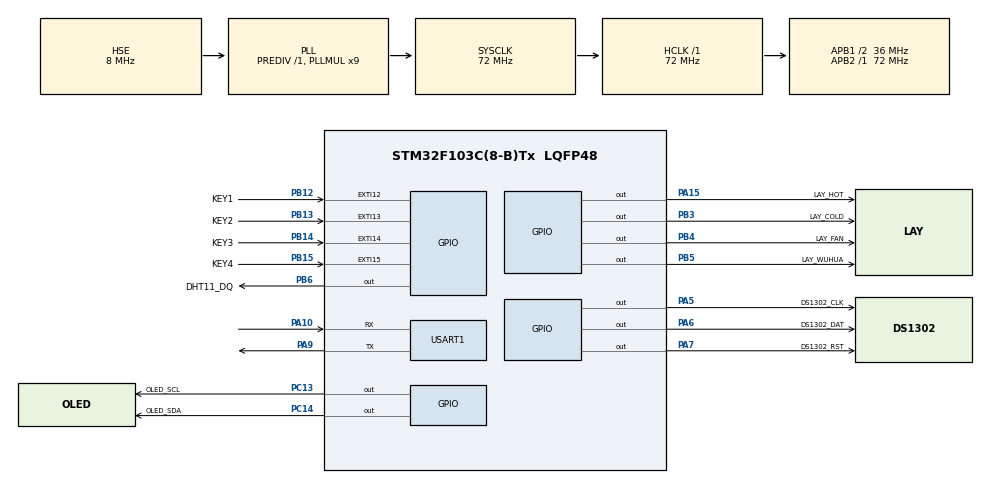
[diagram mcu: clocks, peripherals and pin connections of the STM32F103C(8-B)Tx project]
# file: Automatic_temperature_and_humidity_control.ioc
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Dma.Request0=USART1_RX
Dma.Request1=USART1_TX
Dma.USART1_RX.0.Direction=DMA_PERIPH_TO_MEMORY
Dma.USART1_RX.0.Instance=DMA1_Channel5
Dma.USART1_RX.0.MemDataAlignment=DMA_MDATAALIGN_BYTE
Dma.USART1_RX.0.MemInc=DMA_MINC_ENABLE
Dma.USART1_RX.0.Mode=DMA_NORMAL
Dma.USART1_RX.0.PeriphDataAlignment=DMA_PDATAALIGN_BYTE
Dma.USART1_RX.0.PeriphInc=DMA_PINC_DISABLE
Dma.USART1_RX.0.Priority=DMA_PRIORITY_LOW
Dma.USART1_TX.1.Direction=DMA_MEMORY_TO_PERIPH
Dma.USART1_TX.1.Instance=DMA1_Channel4
Dma.USART1_TX.1.MemDataAlignment=DMA_MDATAALIGN_BYTE
Dma.USART1_TX.1.MemInc=DMA_MINC_ENABLE
Dma.USART1_TX.1.Mode=DMA_NORMAL
Dma.USART1_TX.1.PeriphDataAlignment=DMA_PDATAALIGN_BYTE
Dma.USART1_TX.1.PeriphInc=DMA_PINC_DISABLE
Dma.USART1_TX.1.Priority=DMA_PRIORITY_LOW
Mcu.Family=STM32F1
Mcu.Name=STM32F103C(8-B)Tx
Mcu.Package=LQFP48
NVIC.DMA1_Channel4_IRQn=true\:0\:0\:false\:false\:true\:false\:true\:true
NVIC.DMA1_Channel5_IRQn=true\:0\:0\:false\:false\:true\:false\:true\:true
NVIC.EXTI15_10_IRQn=true\:0\:0\:false\:false\:true\:true\:true\:true
NVIC.PriorityGroup=NVIC_PRIORITYGROUP_4
NVIC.USART1_IRQn=true\:1\:0\:true\:false\:true\:true\:true\:true
PA10.Mode=Asynchronous
PA10.Signal=USART1_RX
PA13.Mode=Serial_Wire
PA13.Signal=SYS_JTMS-SWDIO
PA14.Mode=Serial_Wire
PA14.Signal=SYS_JTCK-SWCLK
PA15.GPIO_Label=LAY_HOT
PA15.GPIO_ModeDefaultOutputPP=GPIO_MODE_OUTPUT_PP
PA15.GPIO_PuPd=GPIO_PULLDOWN
PA15.GPIO_Speed=GPIO_SPEED_FREQ_HIGH
PA15.PinState=GPIO_PIN_SET
PA15.Signal=GPIO_Output
PA5.GPIO_Label=DS1302_CLK
PA5.GPIO_ModeDefaultOutputPP=GPIO_MODE_OUTPUT_PP
PA5.GPIO_PuPd=GPIO_PULLUP
PA5.GPIO_Speed=GPIO_SPEED_FREQ_HIGH
PA5.PinState=GPIO_PIN_SET
PA5.Signal=GPIO_Output
PA6.GPIO_Label=DS1302_DAT
PA6.GPIO_PuPd=GPIO_PULLUP
PA6.GPIO_Speed=GPIO_SPEED_FREQ_HIGH
PA6.Signal=GPIO_Output
PA7.GPIO_Label=DS1302_RST
PA7.GPIO_PuPd=GPIO_PULLUP
PA7.GPIO_Speed=GPIO_SPEED_FREQ_HIGH
PA7.Signal=GPIO_Output
PA9.Mode=Asynchronous
PA9.Signal=USART1_TX
PB12.GPIO_Label=KEY1
PB12.GPIO_ModeDefaultEXTI=GPIO_MODE_IT_FALLING
PB12.GPIO_PuPd=GPIO_PULLUP
PB12.Signal=GPXTI12
PB13.GPIO_Label=KEY2
PB13.GPIO_ModeDefaultEXTI=GPIO_MODE_IT_FALLING
PB13.GPIO_PuPd=GPIO_PULLUP
PB13.Signal=GPXTI13
PB14.GPIO_Label=KEY3
PB14.GPIO_ModeDefaultEXTI=GPIO_MODE_IT_FALLING
PB14.GPIO_PuPd=GPIO_PULLUP
PB14.Signal=GPXTI14
PB15.GPIO_Label=KEY4
PB15.GPIO_ModeDefaultEXTI=GPIO_MODE_IT_FALLING
PB15.GPIO_PuPd=GPIO_PULLUP
PB15.Signal=GPXTI15
PB3.GPIO_Label=LAY_COLD
PB3.GPIO_ModeDefaultOutputPP=GPIO_MODE_OUTPUT_PP
PB3.GPIO_PuPd=GPIO_PULLDOWN
PB3.GPIO_Speed=GPIO_SPEED_FREQ_HIGH
PB3.PinState=GPIO_PIN_SET
PB3.Signal=GPIO_Output
PB4.GPIO_Label=LAY_FAN
PB4.GPIO_ModeDefaultOutputPP=GPIO_MODE_OUTPUT_PP
PB4.GPIO_PuPd=GPIO_PULLDOWN
PB4.GPIO_Speed=GPIO_SPEED_FREQ_HIGH
PB4.PinState=GPIO_PIN_SET
PB4.Signal=GPIO_Output
PB5.GPIO_Label=LAY_WUHUA
PB5.GPIO_ModeDefaultOutputPP=GPIO_MODE_OUTPUT_PP
PB5.GPIO_PuPd=GPIO_PULLDOWN
PB5.GPIO_Speed=GPIO_SPEED_FREQ_HIGH
PB5.PinState=GPIO_PIN_SET
PB5.Signal=GPIO_Output
PB6.GPIO_Label=DHT11_DQ
PB6.GPIO_ModeDefaultOutputPP=GPIO_MODE_OUTPUT_PP
PB6.GPIO_PuPd=GPIO_PULLUP
PB6.GPIO_Speed=GPIO_SPEED_FREQ_HIGH
PB6.PinState=GPIO_PIN_SET
PB6.Signal=GPIO_Output
PC13-TAMPER-RTC.GPIO_Label=OLED_SCL
PC13-TAMPER-RTC.GPIO_ModeDefaultOutputPP=GPIO_MODE_OUTPUT_PP
PC13-TAMPER-RTC.GPIO_PuPd=GPIO_PULLUP
PC13-TAMPER-RTC.GPIO_Speed=GPIO_SPEED_FREQ_HIGH
PC13-TAMPER-RTC.PinState=GPIO_PIN_SET
PC13-TAMPER-RTC.Signal=GPIO_Output
PC14-OSC32_IN.GPIO_Label=OLED_SDA
PC14-OSC32_IN.GPIO_ModeDefaultOutputPP=GPIO_MODE_OUTPUT_PP
PC14-OSC32_IN.GPIO_PuPd=GPIO_PULLUP
PC14-OSC32_IN.GPIO_Speed=GPIO_SPEED_FREQ_HIGH
PC14-OSC32_IN.Signal=GPIO_Output
PD0-OSC_IN.Mode=HSE-External-Oscillator
PD0-OSC_IN.Signal=RCC_OSC_IN
PD1-OSC_OUT.Mode=HSE-External-Oscillator
PD1-OSC_OUT.Signal=RCC_OSC_OUT
ProjectManager.HeapSize=0x200
ProjectManager.StackSize=0x400
ProjectManager.TargetToolchain=MDK-ARM V5.32
RCC.AHBFreq_Value=72000000
RCC.APB1CLKDivider=RCC_HCLK_DIV2
RCC.APB1Freq_Value=36000000
RCC.APB1TimFreq_Value=72000000
RCC.APB2Freq_Value=72000000
RCC.APB2TimFreq_Value=72000000
RCC.HCLKFreq_Value=72000000
RCC.PLLMUL=RCC_PLL_MUL9
RCC.PLLSourceVirtual=RCC_PLLSOURCE_HSE
RCC.SYSCLKFreq_VALUE=72000000
RCC.SYSCLKSource=RCC_SYSCLKSOURCE_PLLCLK
RCC.USBFreq_Value=72000000
USART1.VirtualMode=VM_ASYNC
board=custom

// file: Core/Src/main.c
/* USER CODE BEGIN Header */
/**
  ******************************************************************************
  * @file           : main.c
  * @brief          : Main program body
  ******************************************************************************
  * @attention
  *
  * Copyright (c) 2026 STMicroelectronics.
  * All rights reserved.
  *
  * This software is licensed under terms that can be found in the LICENSE file
  * in the root directory of this software component.
  * If no LICENSE file comes with this software, it is provided AS-IS.
  *
  ******************************************************************************
  */
/* USER CODE END Header */
#include "main.h"
#include "dma.h"
#include "usart.h"
#include "gpio.h"

/* USER CODE BEGIN Includes */
#include "oled.h"
#include "ds1302.h"
#include "DHT11.h"
#include <stdio.h>
#include "esp8266.h"
#include "mqtt_publisher.h"
/* USER CODE END Includes */

/* USER CODE BEGIN PD */
// 界面定义
#define INTERFACE_MAIN 1    // 主界面：显示时间、温度、湿度
#define INTERFACE_DEVICE 2  // 设备界面：显示设备状态
#define INTERFACE_SETTING 3 // 设置界面：显示阈值设置

// 工作模式
#define MODE_AUTO 0   // 自动模式
#define MODE_MANUAL 1 // 手动模式

// 设备状态
#define DEVICE_OFF 0  // 设备关闭
#define DEVICE_ON 1   // 设备开启

// 按键定义
#define KEY1_PRESSED 1
#define KEY2_PRESSED 2
#define KEY3_PRESSED 3
#define KEY4_PRESSED 4

// 阈值默认值
#define DEFAULT_TEMP_MAX 40  // 默认温度上限
#define DEFAULT_TEMP_MIN 25  // 默认温度下限
#define DEFAULT_HUMID_MAX 70 // 默认湿度上限
/* USER CODE END PD */

/* USER CODE BEGIN PV */
DS1302_Time currentTime;
uint8_t timeStr[32];
DHT11_Data dht11Data;

// 系统状态变量
uint8_t currentInterface = INTERFACE_MAIN; // 当前界面
uint8_t currentMode = MODE_AUTO;           // 当前工作模式

// 设备状态
uint8_t heaterStatus = DEVICE_OFF;  // 加热器状态
uint8_t coolerStatus = DEVICE_OFF;  // 制冷片状态
uint8_t fanStatus = DEVICE_OFF;     // 风扇状态
uint8_t wuhuaStatus = DEVICE_OFF;   // 雾化器状态

// 阈值设置
uint8_t tempMax = DEFAULT_TEMP_MAX;  // 温度上限
uint8_t tempMin = DEFAULT_TEMP_MIN;  // 温度下限
uint8_t humidMax = DEFAULT_HUMID_MAX; // 湿度上限

// 设置界面当前选中的项目
#define SETTING_TEMP_MAX 0  // 温度上限
#define SETTING_TEMP_MIN 1  // 温度下限
#define SETTING_HUMID_MAX 2 // 湿度上限
uint8_t currentSettingItem = SETTING_TEMP_MAX; // 当前选中的设置项

// 按键状态
uint8_t keyPressed = 0; // 记录按键状态
uint8_t keyPressFlag = 0; // 按键按下标志（用于中断）
uint32_t keyPressTime = 0; // 按键按下时间

// 系统启动状态
uint8_t systemReady = 0; // 系统就绪标志
uint32_t startupCounter = 0; // 启动计数器

// 上次数据（用于按需刷新）
DS1302_Time lastTime;
DHT11_Data lastDht11Data;
uint8_t lastInterface = INTERFACE_MAIN;
uint8_t lastMode = MODE_AUTO;
uint8_t lastHeaterStatus = DEVICE_OFF;
uint8_t lastCoolerStatus = DEVICE_OFF;
uint8_t lastFanStatus = DEVICE_OFF;
uint8_t lastWuhuaStatus = DEVICE_OFF;
uint8_t lastTempMax = DEFAULT_TEMP_MAX;
uint8_t lastTempMin = DEFAULT_TEMP_MIN;
uint8_t lastHumidMax = DEFAULT_HUMID_MAX;
uint8_t lastSettingItem = SETTING_TEMP_MAX;
/* USER CODE END PV */

void SystemClock_Config(void);
/* USER CODE BEGIN PFP */
// 界面绘制函数
void DrawMainInterface(void);
void DrawDeviceInterface(void);
void DrawSettingInterface(void);

// 按键处理函数
void ProcessKeyPress(uint8_t key);

// 设备控制函数
void ControlDevice(uint8_t device, uint8_t status);

// 自动控制逻辑
void AutoControlLogic(void);
/* USER CODE END PFP */

/* USER CODE BEGIN 0 */

// 设备控制函数
void ControlDevice(uint8_t device, uint8_t status)
{
    switch(device)
    {
        case 1: // 加热器
            heaterStatus = status;
            HAL_GPIO_WritePin(LAY_HOT_GPIO_Port, LAY_HOT_Pin, status ? GPIO_PIN_SET : GPIO_PIN_RESET);
            break;
        case 2: // 制冷片
            coolerStatus = status;
            HAL_GPIO_WritePin(LAY_COLD_GPIO_Port, LAY_COLD_Pin, status ? GPIO_PIN_SET : GPIO_PIN_RESET);
            break;
        case 3: // 风扇
            fanStatus = status;
            HAL_GPIO_WritePin(LAY_FAN_GPIO_Port, LAY_FAN_Pin, status ? GPIO_PIN_SET : GPIO_PIN_RESET);
            break;
        case 4: // 雾化器
            wuhuaStatus = status;
            HAL_GPIO_WritePin(LAY_WUHUA_GPIO_Port, LAY_WUHUA_Pin, status ? GPIO_PIN_SET : GPIO_PIN_RESET);
            break;
    }
}

// 自动控制逻辑
void AutoControlLogic(void)
{
    // 检查系统是否就绪和温度数据是否有效
    if(!systemReady || dht11Data.temperature == 0 || dht11Data.temperature > 60)
    {
        // 系统未就绪或温度数据无效，关闭所有设备
        if(heaterStatus == DEVICE_ON) ControlDevice(1, DEVICE_OFF);
        if(coolerStatus == DEVICE_ON) ControlDevice(2, DEVICE_OFF);
        if(fanStatus == DEVICE_ON) ControlDevice(3, DEVICE_OFF);
        if(wuhuaStatus == DEVICE_ON) ControlDevice(4, DEVICE_OFF);
        return;
    }

    if(currentMode == MODE_AUTO)
    {
        // 温度控制优先级最高
        if(dht11Data.temperature < tempMin)
        {
            // 温度低于下限，开启加热器，关闭其他所有设备
            ControlDevice(1, DEVICE_ON);
            ControlDevice(2, DEVICE_OFF);
            ControlDevice(3, DEVICE_OFF);
            ControlDevice(4, DEVICE_OFF);
        }
        else if(dht11Data.temperature > tempMax)
        {
            // 温度高于上限，开启制冷片，关闭其他所有设备
            ControlDevice(1, DEVICE_OFF);
            ControlDevice(2, DEVICE_ON);
            ControlDevice(3, DEVICE_OFF);
            ControlDevice(4, DEVICE_OFF);
        }
        else
        {
            // 温度在正常范围内，关闭加热和制冷，进行湿度控制
            ControlDevice(1, DEVICE_OFF);
            ControlDevice(2, DEVICE_OFF);

            // 湿度控制
            if(dht11Data.humidity > humidMax)
            {
                // 湿度高于上限，开启风扇除湿，关闭雾化器
                ControlDevice(3, DEVICE_ON);
                ControlDevice(4, DEVICE_OFF);
            }
            else if(dht11Data.humidity < 30) // 假设湿度下限为30%
            {
                // 湿度低于阈值，开启雾化器，关闭风扇
                ControlDevice(3, DEVICE_OFF);
                ControlDevice(4, DEVICE_ON);
            }
            else
            {
                // 湿度正常，关闭风扇和雾化器
                ControlDevice(3, DEVICE_OFF);
                ControlDevice(4, DEVICE_OFF);
            }
        }
    }
}

// 绘制主界面
void DrawMainInterface(void)
{
    OLED_Clear();

    // 显示日期
    sprintf((char*)timeStr, "20%02d-%02d-%02d", currentTime.year, currentTime.month, currentTime.date);
    OLED_ShowString(0, 0, timeStr, 8, 1);

    // 显示时间
    sprintf((char*)timeStr, "%02d:%02d:%02d", currentTime.hour, currentTime.minute, currentTime.second);
    OLED_ShowString(0, 16, timeStr, 8, 1);

    // 显示温度
    sprintf((char*)timeStr, "T: %d.%dC", dht11Data.temperature, dht11Data.temperature_dec);
    OLED_ShowString(0, 32, timeStr, 8, 1);

    // 显示湿度
    sprintf((char*)timeStr, "H: %d.%d%%", dht11Data.humidity, dht11Data.humidity_dec);
    OLED_ShowString(0, 48, timeStr, 8, 1);

    // 显示工作模式
    if(currentMode == MODE_AUTO)
    {
        OLED_ShowString(80, 0, (uint8_t*)"AUTO", 8, 1);
    }
    else
    {
        OLED_ShowString(80, 0, (uint8_t*)"MANUAL", 8, 1);
    }

    OLED_Refresh();
}

// 绘制设备界面
void DrawDeviceInterface(void)
{
    OLED_Clear();

    // 显示设备状态
    OLED_ShowString(0, 0, (uint8_t*)"Heater:", 8, 1);
    OLED_ShowString(60, 0, (heaterStatus ? (uint8_t*)"ON" : (uint8_t*)"OFF"), 8, 1);

    OLED_ShowString(0, 16, (uint8_t*)"Cooler:", 8, 1);
    OLED_ShowString(60, 16, (coolerStatus ? (uint8_t*)"ON" : (uint8_t*)"OFF"), 8, 1);

    OLED_ShowString(0, 32, (uint8_t*)"Fan:", 8, 1);
    OLED_ShowString(60, 32, (fanStatus ? (uint8_t*)"ON" : (uint8_t*)"OFF"), 8, 1);

    OLED_ShowString(0, 48, (uint8_t*)"Wuhua:", 8, 1);
    OLED_ShowString(60, 48, (wuhuaStatus ? (uint8_t*)"ON" : (uint8_t*)"OFF"), 8, 1);

    OLED_Refresh();
}

// 绘制设置界面
void DrawSettingInterface(void)
{
    OLED_Clear();

    // 显示阈值设置
    sprintf((char*)timeStr, "Temp Max: %dC", tempMax);
    OLED_ShowString(0, 0, timeStr, 8, 1);

    sprintf((char*)timeStr, "Temp Min: %dC", tempMin);
    OLED_ShowString(0, 16, timeStr, 8, 1);

    sprintf((char*)timeStr, "Humid Max: %d%%", humidMax);
    OLED_ShowString(0, 32, timeStr, 8, 1);

    // 显示当前选中的设置项
    switch(currentSettingItem)
    {
        case SETTING_TEMP_MAX:
            OLED_ShowString(100, 0, (uint8_t*)"->", 8, 1);
            break;
        case SETTING_TEMP_MIN:
            OLED_ShowString(100, 16, (uint8_t*)"->", 8, 1);
            break;
        case SETTING_HUMID_MAX:
            OLED_ShowString(100, 32, (uint8_t*)"->", 8, 1);
            break;
    }

    OLED_ShowString(0, 48, (uint8_t*)"KEY1:Prev KEY2:Next", 8, 1);
    OLED_ShowString(0, 56, (uint8_t*)"KEY3:Down KEY4:Up", 8, 1);

    OLED_Refresh();
}

// 按键处理函数
void ProcessKeyPress(uint8_t key)
{
    switch(currentInterface)
    {
        case INTERFACE_MAIN:
            if(key == KEY1_PRESSED)
            {
                // 切换工作模式
                currentMode = (currentMode == MODE_AUTO) ? MODE_MANUAL : MODE_AUTO;
            }
            else if(key == KEY2_PRESSED)
            {
                // 切换到设备界面
                currentInterface = INTERFACE_DEVICE;
            }
            break;

        case INTERFACE_DEVICE:
            if(key == KEY1_PRESSED)
            {
                // 切换到主界面
                currentInterface = INTERFACE_MAIN;
            }
            else if(key == KEY2_PRESSED)
            {
                // 切换到设置界面
                currentInterface = INTERFACE_SETTING;
                currentSettingItem = SETTING_TEMP_MAX; // 重置为第一项
            }
            else if(key == KEY3_PRESSED)
            {
                // 手动控制设备（循环关闭）
                if(heaterStatus == DEVICE_ON) ControlDevice(1, DEVICE_OFF);
                else if(coolerStatus == DEVICE_ON) ControlDevice(2, DEVICE_OFF);
                else if(fanStatus == DEVICE_ON) ControlDevice(3, DEVICE_OFF);
                else if(wuhuaStatus == DEVICE_ON) ControlDevice(4, DEVICE_OFF);
            }
            else if(key == KEY4_PRESSED)
            {
                // 手动控制设备（循环开启，确保互斥）
                if(heaterStatus == DEVICE_OFF)
                {
                    // 开启加热器，关闭其他所有设备
                    ControlDevice(1, DEVICE_ON);
                    ControlDevice(2, DEVICE_OFF);
                    ControlDevice(3, DEVICE_OFF);
                    ControlDevice(4, DEVICE_OFF);
                }
                else if(coolerStatus == DEVICE_OFF)
                {
                    // 开启制冷片，关闭其他所有设备
                    ControlDevice(1, DEVICE_OFF);
                    ControlDevice(2, DEVICE_ON);
                    ControlDevice(3, DEVICE_OFF);
                    ControlDevice(4, DEVICE_OFF);
                }
                else if(fanStatus == DEVICE_OFF)
                {
                    // 开启风扇，关闭其他所有设备
                    ControlDevice(1, DEVICE_OFF);
                    ControlDevice(2, DEVICE_OFF);
                    ControlDevice(3, DEVICE_ON);
                    ControlDevice(4, DEVICE_OFF);
                }
                else if(wuhuaStatus == DEVICE_OFF)
                {
                    // 开启雾化器，关闭其他所有设备
                    ControlDevice(1, DEVICE_OFF);
                    ControlDevice(2, DEVICE_OFF);
                    ControlDevice(3, DEVICE_OFF);
                    ControlDevice(4, DEVICE_ON);
                }
            }
            break;

        case INTERFACE_SETTING:
            if(key == KEY1_PRESSED)
            {
                // 切换到上一个设置项
                currentSettingItem--;
                if(currentSettingItem < SETTING_TEMP_MAX)
                {
                    // 已经到第一项，回到设备界面
                    currentInterface = INTERFACE_DEVICE;
                    currentSettingItem = SETTING_TEMP_MAX; // 重置为第一项
                }
            }
            else if(key == KEY2_PRESSED)
            {
                // 切换到下一个设置项
                currentSettingItem++;
                if(currentSettingItem > SETTING_HUMID_MAX)
                {
                    // 已经到最后一项，退出设置界面回到主界面
                    currentInterface = INTERFACE_MAIN;
                    currentSettingItem = SETTING_TEMP_MAX; // 重置为第一项
                }
            }
            else if(key == KEY3_PRESSED)
            {
                // 减少当前选中的阈值
                switch(currentSettingItem)
                {
                    case SETTING_TEMP_MAX:
                        if(tempMax > 20) tempMax--;
                        break;
                    case SETTING_TEMP_MIN:
                        if(tempMin > 10) tempMin--;
                        break;
                    case SETTING_HUMID_MAX:
                        if(humidMax > 30) humidMax--;
                        break;
                }
            }
            else if(key == KEY4_PRESSED)
            {
                // 增加当前选中的阈值
                switch(currentSettingItem)
                {
                    case SETTING_TEMP_MAX:
                        if(tempMax < 50) tempMax++;
                        break;
                    case SETTING_TEMP_MIN:
                        if(tempMin < tempMax - 5) tempMin++;
                        break;
                    case SETTING_HUMID_MAX:
                        if(humidMax < 99) humidMax++;
                        break;
                }
            }
            break;
    }
}

/* USER CODE END 0 */

int main(void)
{

  /* USER CODE BEGIN 1 */
  uint8_t wifi_try = 0, mqtt_try = 0;
  /* USER CODE END 1 */

  /* MCU Configuration--------------------------------------------------------*/

  /* Reset of all peripherals, Initializes the Flash interface and the Systick. */
  HAL_Init();

  /* Configure the system clock */
  SystemClock_Config();

  /* Initialize all configured peripherals */
  MX_GPIO_Init();

  MX_DMA_Init();
  MX_USART1_UART_Init();
  /* USER CODE BEGIN 2 */
		  HAL_GPIO_WritePin(GPIOB, LAY_COLD_Pin|LAY_FAN_Pin|LAY_WUHUA_Pin, GPIO_PIN_RESET);
		  HAL_GPIO_WritePin(GPIOA,LAY_HOT_Pin, GPIO_PIN_RESET);
	  OLED_Init();
  DS1302_Init();
  DHT11_Init();

  	ESP8266_Init();
		  //WIFI连接
  while (wifi_try < 5 && !ESP8266_ConnectWiFi())
  {
      wifi_try++;
      HAL_Delay(1000);
  }

	  //上云
	if(ESP8266_ConnectCloud()==false)
	{
		  while(1);
	}
	HAL_Delay(5000);
	ESP8266_Clear();
	OLED_Clear();

	//订阅
	if(!ESP8266_MQTT_Subscribe(MQTT_TOPIC_POST_REPLY,1))
	{
		  while(1);
	}

	//发布
		if(!ESP8266_MQTT_Subscribe(MQTT_TOPIC_SET,0))
	{
		  while(1);
	}

  // 初始化继电器引脚为输出
  GPIO_InitTypeDef GPIO_InitStruct = {0};

  // 加热器
  GPIO_InitStruct.Pin = LAY_HOT_Pin;
  GPIO_InitStruct.Mode = GPIO_MODE_OUTPUT_PP;
  GPIO_InitStruct.Pull = GPIO_NOPULL;
  GPIO_InitStruct.Speed = GPIO_SPEED_FREQ_HIGH;
  HAL_GPIO_Init(LAY_HOT_GPIO_Port, &GPIO_InitStruct);

  // 制冷片
  GPIO_InitStruct.Pin = LAY_COLD_Pin;
  HAL_GPIO_Init(LAY_COLD_GPIO_Port, &GPIO_InitStruct);

  // 风扇
  GPIO_InitStruct.Pin = LAY_FAN_Pin;
  HAL_GPIO_Init(LAY_FAN_GPIO_Port, &GPIO_InitStruct);

  // 雾化器
  GPIO_InitStruct.Pin = LAY_WUHUA_Pin;
  HAL_GPIO_Init(LAY_WUHUA_GPIO_Port, &GPIO_InitStruct);

  // 上电默认拉低，确保设备处于关闭状态
  HAL_GPIO_WritePin(LAY_HOT_GPIO_Port, LAY_HOT_Pin, GPIO_PIN_RESET);
  HAL_GPIO_WritePin(LAY_COLD_GPIO_Port, LAY_COLD_Pin, GPIO_PIN_RESET);
  HAL_GPIO_WritePin(LAY_FAN_GPIO_Port, LAY_FAN_Pin, GPIO_PIN_RESET);
  HAL_GPIO_WritePin(LAY_WUHUA_GPIO_Port, LAY_WUHUA_Pin, GPIO_PIN_RESET);

  // 初始化设备状态变量
  heaterStatus = DEVICE_OFF;
  coolerStatus = DEVICE_OFF;
  fanStatus = DEVICE_OFF;
  wuhuaStatus = DEVICE_OFF;

//  OLED_ShowString(0,0,(uint8_t*)"hello",8,1);
//  OLED_Refresh();
//  HAL_Delay(1000);
  /* USER CODE END 2 */

  /* Infinite loop */
  /* USER CODE BEGIN WHILE */
  while (1)
  {
    // 读取时间和温湿度数据
    DS1302_GetTime(&currentTime);
    DHT11_ReadData(&dht11Data);

    // 发送温湿度数据到MQTT
    char temp_str[10];
    char humid_str[10];
    sprintf(temp_str, "%d.%d", dht11Data.temperature, dht11Data.temperature_dec);
    sprintf(humid_str, "%d.%d", dht11Data.humidity, dht11Data.humidity_dec);
    MQTT_Publish_temp(temp_str);
    MQTT_Publish_humidity(humid_str);

    // 启动计数器，系统运行10秒后标记为就绪
    startupCounter++;
    if(startupCounter > 100) // 100次循环 * 100ms = 10秒
    {
        systemReady = 1;
    }

    // 处理按键（由中断触发）
    if(keyPressFlag != 0)
    {
        // 立即更新按键时间戳（防止重复触发）
        uint32_t currentTime = HAL_GetTick();

        // 检查是否已经过了消抖时间（50ms）
        if(currentTime - keyPressTime > 50)
        {
            // 确认按键仍然按下
            uint8_t validKey = 0;
            if(keyPressFlag == KEY1_PRESSED && HAL_GPIO_ReadPin(KEY1_GPIO_Port, KEY1_Pin) == GPIO_PIN_RESET)
            {
                validKey = KEY1_PRESSED;
            }
            else if(keyPressFlag == KEY2_PRESSED && HAL_GPIO_ReadPin(KEY2_GPIO_Port, KEY2_Pin) == GPIO_PIN_RESET)
            {
                validKey = KEY2_PRESSED;
            }
            else if(keyPressFlag == KEY3_PRESSED && HAL_GPIO_ReadPin(KEY3_GPIO_Port, KEY3_Pin) == GPIO_PIN_RESET)
            {
                validKey = KEY3_PRESSED;
            }
            else if(keyPressFlag == KEY4_PRESSED && HAL_GPIO_ReadPin(KEY4_GPIO_Port, KEY4_Pin) == GPIO_PIN_RESET)
            {
                validKey = KEY4_PRESSED;
            }

            // 如果按键有效，处理按键事件
            if(validKey != 0)
            {
                ProcessKeyPress(validKey);
            }

            // 清除按键标志（无论是否有效）
            keyPressFlag = 0;
            // 更新时间戳，防止短时间内重复触发
            keyPressTime = currentTime;
        }
        // 即使消抖时间不够，也要清除标志，避免卡死
        else
        {
            keyPressFlag = 0;
        }
    }
    else
    {
        // 没有按键按下时，持续更新按键时间戳
        keyPressTime = HAL_GetTick();
    }

    // 自动控制逻辑
    AutoControlLogic();

    // 按需刷新：只在数据变化时刷新显示
    uint8_t needRefresh = 0;

    // 检查界面是否变化
    if(currentInterface != lastInterface)
    {
        needRefresh = 1;
        lastInterface = currentInterface;
    }

    // 根据当前界面检查数据变化
    switch(currentInterface)
    {
        case INTERFACE_MAIN:
            // 检查时间变化（只检查秒）
            if(currentTime.second != lastTime.second ||
               currentTime.minute != lastTime.minute ||
               currentTime.hour != lastTime.hour ||
               currentTime.date != lastTime.date ||
               currentTime.month != lastTime.month ||
               currentTime.year != lastTime.year)
            {
                needRefresh = 1;
                lastTime = currentTime;
            }

            // 检查温湿度变化
            if(dht11Data.temperature != lastDht11Data.temperature ||
               dht11Data.humidity != lastDht11Data.humidity)
            {
                needRefresh = 1;
                lastDht11Data = dht11Data;
            }

            // 检查工作模式变化
            if(currentMode != lastMode)
            {
                needRefresh = 1;
                lastMode = currentMode;
            }
            break;

        case INTERFACE_DEVICE:
            // 检查设备状态变化
            if(heaterStatus != lastHeaterStatus ||
               coolerStatus != lastCoolerStatus ||
               fanStatus != lastFanStatus ||
               wuhuaStatus != lastWuhuaStatus)
            {
                needRefresh = 1;
                lastHeaterStatus = heaterStatus;
                lastCoolerStatus = coolerStatus;
                lastFanStatus = fanStatus;
                lastWuhuaStatus = wuhuaStatus;
            }
            break;

        case INTERFACE_SETTING:
            // 检查阈值变化
            if(tempMax != lastTempMax ||
               tempMin != lastTempMin ||
               humidMax != lastHumidMax ||
               currentSettingItem != lastSettingItem)
            {
                needRefresh = 1;
                lastTempMax = tempMax;
                lastTempMin = tempMin;
                lastHumidMax = humidMax;
                lastSettingItem = currentSettingItem;
            }
            break;
    }

    // 只有在需要刷新时才绘制显示
    if(needRefresh)
    {
        switch(currentInterface)
        {
            case INTERFACE_MAIN:
                DrawMainInterface();
                break;
            case INTERFACE_DEVICE:
                DrawDeviceInterface();
                break;
            case INTERFACE_SETTING:
                DrawSettingInterface();
                break;
        }
    }

    HAL_Delay(100); // 100ms刷新一次
    /* USER CODE END WHILE */

  }
}

void SystemClock_Config(void)
{
  RCC_OscInitTypeDef RCC_OscInitStruct = {0};
  RCC_ClkInitTypeDef RCC_ClkInitStruct = {0};

  /** Initializes the RCC Oscillators according to the specified parameters
  * in the RCC_OscInitTypeDef structure.
  */
  RCC_OscInitStruct.OscillatorType = RCC_OSCILLATORTYPE_HSE;
  RCC_OscInitStruct.HSEState = RCC_HSE_ON;
  RCC_OscInitStruct.HSEPredivValue = RCC_HSE_PREDIV_DIV1;
  RCC_OscInitStruct.HSIState = RCC_HSI_ON;
  RCC_OscInitStruct.PLL.PLLState = RCC_PLL_ON;
  RCC_OscInitStruct.PLL.PLLSource = RCC_PLLSOURCE_HSE;
  RCC_OscInitStruct.PLL.PLLMUL = RCC_PLL_MUL9;
  if (HAL_RCC_OscConfig(&RCC_OscInitStruct) != HAL_OK)
  {
    Error_Handler();
  }

  /** Initializes the CPU, AHB and APB buses clocks
  */
  RCC_ClkInitStruct.ClockType = RCC_CLOCKTYPE_HCLK|RCC_CLOCKTYPE_SYSCLK
                              |RCC_CLOCKTYPE_PCLK1|RCC_CLOCKTYPE_PCLK2;
  RCC_ClkInitStruct.SYSCLKSource = RCC_SYSCLKSOURCE_PLLCLK;
  RCC_ClkInitStruct.AHBCLKDivider = RCC_SYSCLK_DIV1;
  RCC_ClkInitStruct.APB1CLKDivider = RCC_HCLK_DIV2;
  RCC_ClkInitStruct.APB2CLKDivider = RCC_HCLK_DIV1;

  if (HAL_RCC_ClockConfig(&RCC_ClkInitStruct, FLASH_LATENCY_2) != HAL_OK)
  {
    Error_Handler();
  }
}

/* USER CODE BEGIN 4 */

/**
  * @brief  EXTI line detection callback.
  * @param  GPIO_Pin: Specifies the pins connected EXTI line
  * @retval None
  */
void HAL_GPIO_EXTI_Callback(uint16_t GPIO_Pin)
{
    // 只设置标志位，不在中断中做任何延时或等待
    if(GPIO_Pin == KEY1_Pin)
    {
        keyPressFlag = KEY1_PRESSED;
    }
    else if(GPIO_Pin == KEY2_Pin)
    {
        keyPressFlag = KEY2_PRESSED;
    }
    else if(GPIO_Pin == KEY3_Pin)
    {
        keyPressFlag = KEY3_PRESSED;
    }
    else if(GPIO_Pin == KEY4_Pin)
    {
        keyPressFlag = KEY4_PRESSED;
    }
}

/* USER CODE END 4 */

void Error_Handler(void)
{
  __disable_irq();
  while (1)
  {
  }
}
